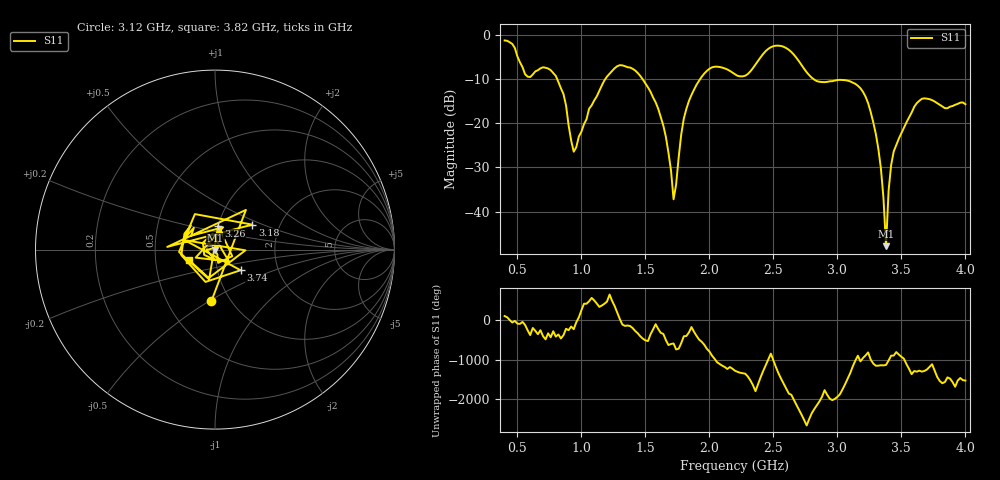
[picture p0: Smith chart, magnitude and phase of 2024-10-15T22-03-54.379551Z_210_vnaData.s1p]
! Created with skrf (http://scikit-rf.org).
# Hz S RI R 50.0
!freq ReS11 ImS11
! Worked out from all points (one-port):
!   181 points, 400 MHz to 4 GHz, reference 50 ohm
!   lowest |S11| = -47.8 dB at 3.38 GHz (marker M1), VSWR 1.01, Z = 50.2 - j0.336 ohm
!   |S11| at or under -10 dB: 811 MHz to 1.186 GHz (374.7 MHz wide, 37.5 % of centre); 1.479 GHz to 1.927 GHz (448.4 MHz wide, 26.3 % of centre); 2.815 GHz to end of sweep
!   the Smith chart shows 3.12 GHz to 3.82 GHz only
!   S11 on the Smith chart (normalised r, x): 3.12 GHz: 0.81, -0.51; 3.18 GHz: 1.45, +0.43; 3.26 GHz: 1.00, +0.27; 3.74 GHz: 1.29, -0.31; 3.82 GHz: 0.74, -0.09
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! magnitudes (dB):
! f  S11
! 400 MHz  -1.2
! 580 MHz  -9.4
! 740 MHz  -7.6
! 860 MHz  -13.4
! 940 MHz  -26.4
! 1.3 GHz  -6.8
! 1.58 GHz  -15.2
! 1.66 GHz  -23.1
! 1.72 GHz  -37.2
! 1.76 GHz  -27.7
! 1.82 GHz  -16.7
! 1.94 GHz  -9.4
! 2.2 GHz  -8.9
! 2.5 GHz  -2.5
! 2.66 GHz  -4.4
! 2.84 GHz  -10.4
! 3.1 GHz  -10.5
! 3.12 GHz  -10.8
! 3.18 GHz  -12.0
! 3.26 GHz  -17.4
! 3.34 GHz  -30.3
! 3.38 GHz  -47.8
! 3.4 GHz  -35.2
! 3.42 GHz  -29.4
! 3.56 GHz  -18.7
! 3.74 GHz  -14.7
! 3.82 GHz  -16.2
! 4 GHz  -15.7
